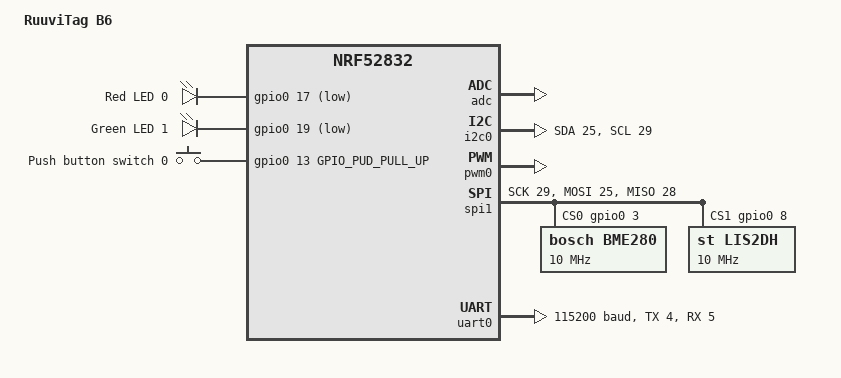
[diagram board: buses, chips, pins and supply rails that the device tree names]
/*
 * Copyright (c) 2019 Ruuvi Innovations Ltd
 *
 * SPDX-License-Identifier: Apache-2.0
 */

/dts-v1/;
#include <nordic/nrf52832_qfaa.dtsi>

/ {
	model = "RuuviTag B6";
	compatible = "nordic,pca10040-dk", "nordic,nrf52832-qfaa",
		     "nordic,nrf52832";

	chosen {
		zephyr,console = &uart0;
		zephyr,shell-uart = &uart0;
		zephyr,uart-mcumgr = &uart0;
		zephyr,bt-mon-uart = &uart0;
		zephyr,sram = &sram0;
		zephyr,flash = &flash0;
		zephyr,code-partition = &slot0_partition;
	};

	leds {
		compatible = "gpio-leds";
		led0: led_0 {
			gpios = <&gpio0 17 GPIO_INT_ACTIVE_LOW>;
			label = "Red LED 0";
		};
		led1: led_1 {
			gpios = <&gpio0 19 GPIO_INT_ACTIVE_LOW>;
			label = "Green LED 1";
		};
	};

	buttons {
		compatible = "gpio-keys";
		button0: button_0 {
			gpios = <&gpio0 13 GPIO_PUD_PULL_UP>;
			label = "Push button switch 0";
		};
	};

	/* These aliases are provided for compatibility with samples */
	aliases {
		led0 = &led0;
		led1 = &led1;
		sw0 = &button0;
		gpio0 = &gpio0;
	};
};

&adc {
	status ="ok";
};

&gpiote {
	status ="ok";
};

&gpio0 {
	status ="ok";
};

&i2c0 {
	/* Cannot be used together with spi0. */
	/* status = "ok"; */
	sda-pin = <25>;
	scl-pin = <29>;
};

&pwm0 {
	status = "ok";
	ch0-pin = <17>;
	ch0-inverted;
};

&spi1 {
	/* Cannot be used together with i2c0. */
    status = "ok";
    sck-pin = <29>;
	mosi-pin = <25>;
	miso-pin = <28>;
    num-cs = <2>;
    cs-gpios = <&gpio0 3 0>, <&gpio0 8 0>;
	bme280@0 {
	    status = "ok";
		compatible = "bosch,bme280";
		reg = <0x00>;
		label = "BME280";
		spi-max-frequency = <10000000>;
	};
	lis2dh@1 {
	    status = "ok";
		compatible = "st,lis2dh";
		reg = <0x01>;
		label = "LIS2DH";
		spi-max-frequency = <10000000>;
	};
};

arduino_serial: &uart0 {
	status = "ok";
	compatible = "nordic,nrf-uart";
	current-speed = <115200>;
	tx-pin = <4>;
	rx-pin = <5>;
	rts-pin = <30>;
	cts-pin = <31>;
};

&flash0 {
	/*
	 * For more information, see:
	 * http://docs.zephyrproject.org/latest/guides/dts/index.html#flash-partitions
	 */
	partitions {
		compatible = "fixed-partitions";
		#address-cells = <1>;
		#size-cells = <1>;

		boot_partition: partition@0 {
			label = "mcuboot";
			reg = <0x00000000 0xc000>;
		};
		slot0_partition: partition@c000 {
			label = "image-0";
			reg = <0x0000C000 0x32000>;
		};
		slot1_partition: partition@3e000 {
			label = "image-1";
			reg = <0x0003E000 0x32000>;
		};
		scratch_partition: partition@70000 {
			label = "image-scratch";
			reg = <0x00070000 0xa000>;
		};
		storage_partition: partition@7a000 {
			label = "storage";
			reg = <0x0007a000 0x00006000>;
		};
	};
};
